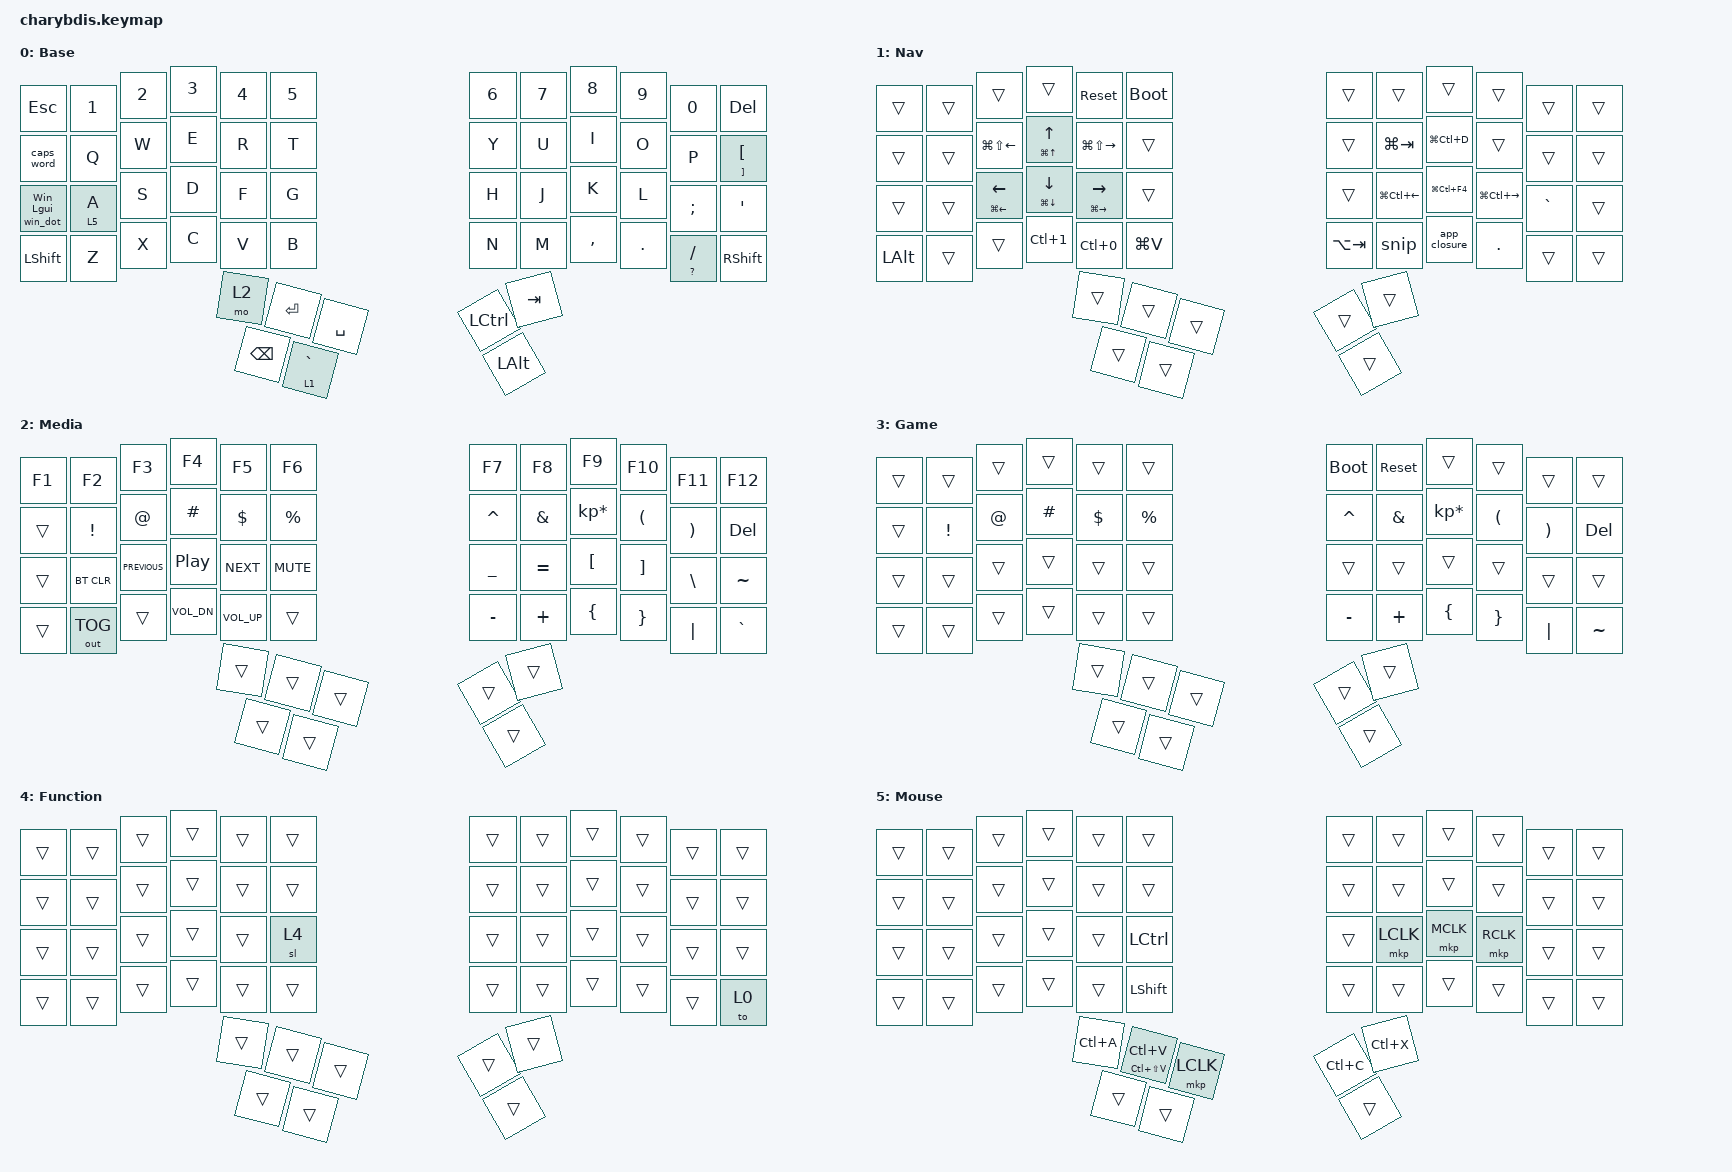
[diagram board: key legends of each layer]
#include <behaviors.dtsi>
#include <dt-bindings/zmk/bt.h>
#include <dt-bindings/zmk/keys.h>
#include <dt-bindings/zmk/outputs.h>
#include <dt-bindings/zmk/pointing.h>

&mmv {
    time-to-max-speed-ms = <400>;
    acceleration-exponent = <2>;
};

&msc {
    time-to-max-speed-ms = <300>;
    acceleration-exponent = <2>;
};

#define BASE 0
#define NAV 1
#define MEDIA 2
#define Game 3
#define Gameq 4
#define MOUSE 5
#define KEYS_L 0 1 2 3 4 5 12 13 14 15 16 17 24 25 26 27 28 29 36 37 38 39 40 41
#define KEYS_R 6 7 8 9 10 11 18 19 20 21 22 23 30 31 32 33 34 35 42 43 44 45 46 47
#define THUMBS 48 49 50 51 52 53 54 55

&caps_word {
    /delete-property/ ignore-modifiers;

    continue-list = <UNDERSCORE BACKSPACE DELETE MINUS>;
};

&lt {
    tapping-term-ms = <200>;
    flavor = "balanced";
};

&mt {
    tapping-term-ms = <200>;
    flavor = "balanced";
};

/ {
    behaviors {
        smart_shift: smart_shift {
            compatible = "zmk,behavior-mod-morph";
            #binding-cells = <0>;
            bindings = <&sk LSHIFT>, <&caps_word>;

            mods = <(MOD_LSFT)>;
        };

        win_hold_tap: win_hold_tap {
            compatible = "zmk,behavior-hold-tap";
            label = "WIN_HOLD_TAP";
            bindings = <&win_dot>, <&Win_Lgui>;

            #binding-cells = <2>;
            tapping-term-ms = <200>;
            flavor = "balanced";
        };
    };

    combos {
        compatible = "zmk,combos";
        timeout-ms = <20>;
        require-prior-idle-ms = <250>;

        combo_reset_layer_left {
            key-positions = <0 12>;
            bindings = <&sys_reset>;
        };

        combo_reset_layer_right {
            key-positions = <11 23>;
            bindings = <&sys_reset>;
        };

        BootloaderLeft {
            key-positions = <0 13>;
            bindings = <&bootloader>;
            require-prior-idle-ms = <2000>;
        };

        zmk_studio {
            key-positions = <0 4>;
            bindings = <&studio_unlock>;
        };

        BootloaderRight {
            bindings = <&bootloader>;
            key-positions = <11 22>;
        };
    };

    chosen { zmk,physical-layout = &charybdis_6col_layout; };

    macros {
        win_dot: macro_press {
            compatible = "zmk,behavior-macro";
            #binding-cells = <0>;
            bindings =
                <&macro_press>,
                <&kp LEFT_GUI &kp DOT>,
                <&macro_pause_for_release>,
                <&macro_release>,
                <&kp LEFT_GUI &kp DOT>;

            label = "MACRO_PRESS";
        };

        Win_Lgui: Win_Lgui {
            compatible = "zmk,behavior-macro";
            #binding-cells = <0>;
            bindings =
                <&macro_press>,
                <&kp LEFT_GUI>,
                <&macro_pause_for_release>,
                <&macro_release>,
                <&kp LEFT_GUI>;

            label = "WIN_LGUI";
        };

        app_closure: app_closure {
            compatible = "zmk,behavior-macro";
            #binding-cells = <0>;
            bindings =
                <&macro_press>,
                <&kp LEFT_ALT &kp F4>,
                <&macro_pause_for_release>,
                <&macro_release>,
                <&kp LEFT_ALT &kp F4>;

            label = "APP_CLOSURE";
        };

        snip: snip {
            compatible = "zmk,behavior-macro";
            #binding-cells = <0>;
            bindings =
                <&macro_press>,
                <&kp LEFT_GUI &kp LSHIFT &kp S>,
                <&macro_pause_for_release>,
                <&macro_release>,
                <&kp LGUI &kp LSHFT &kp S>;

            label = "SNIP";
        };
    };

    keymap {
        compatible = "zmk,keymap";

        Base {
            label = "Base";
            display-name = "Base";
            bindings = <
&kp ESC            &kp N1   &kp N2  &kp N3  &kp N4     &kp N5       &kp N6         &kp N7       &kp N8     &kp N9   &kp N0          &kp DEL
&caps_word         &kp Q    &kp W   &kp E   &kp R      &kp T        &kp Y          &kp U        &kp I      &kp O    &kp P           &mt RIGHT_BRACKET LEFT_BRACKET
&win_hold_tap 0 0  &lt 5 A  &kp S   &kp D   &kp F      &kp G        &kp H          &kp J        &kp K      &kp L    &kp SEMI        &kp APOS
&kp LSHFT          &kp Z    &kp X   &kp C   &kp V      &kp B        &kp N          &kp M        &kp COMMA  &kp DOT  &mt QMARK FSLH  &kp RIGHT_SHIFT
                                    &mo 2   &kp RET    &kp SPACE    &kp BACKSPACE  &lt 1 GRAVE
                                            &kp LCTRL  &kp TAB      &kp LEFT_ALT
            >;
        };

        Nav {
            label = "Nav";
            display-name = "Nav";
            bindings = <
&trans        &trans  &trans                  &trans                         &sys_reset               &bootloader    &trans       &trans                  &trans          &trans                   &trans     &trans
&trans        &trans  &kp LG(LS(LEFT_ARROW))  &mt LG(UP_ARROW) UP_ARROW      &kp LG(LS(RIGHT_ARROW))  &trans         &trans       &kp LG(TAB)             &kp LG(LC(D))   &trans                   &trans     &trans
&trans        &trans  &mt LG(LEFT) LEFT       &mt LG(DOWN_ARROW) DOWN_ARROW  &mt LG(RIGHT) RIGHT      &trans         &trans       &kp LG(LC(LEFT_ARROW))  &kp LG(LC(F4))  &kp LG(LC(RIGHT_ARROW))  &kp GRAVE  &trans
&kp LEFT_ALT  &trans  &trans                  &kp LC(NUMBER_1)               &kp LC(N0)               &kp LG(V)      &kp LA(TAB)  &snip                   &app_closure    &kp DOT                  &trans     &trans
                                              &trans                         &trans                   &trans         &trans       &trans
                                                                             &trans                   &trans         &trans
            >;
        };

        Media {
            label = "Symbol";
            display-name = "Media";
            bindings = <
&kp F1  &kp F2        &kp F3          &kp F4        &kp F5           &kp F6        &kp F7     &kp F8     &kp F9           &kp F10   &kp F11   &kp F12
&trans  &kp EXCL      &kp AT          &kp HASH      &kp DOLLAR       &kp PRCNT     &kp CARET  &kp AMPS   &kp KP_MULTIPLY  &kp LPAR  &kp RPAR  &kp DELETE
&trans  &bt BT_CLR    &kp C_PREVIOUS  &kp C_PP      &kp C_NEXT       &kp C_MUTE    &kp UNDER  &kp EQUAL  &kp LBKT         &kp RBKT  &kp BSLH  &kp TILDE
&trans  &out OUT_TOG  &trans          &kp C_VOL_DN  &kp C_VOLUME_UP  &trans        &kp MINUS  &kp PLUS   &kp LBRC         &kp RBRC  &kp PIPE  &kp GRAVE
                                      &trans        &trans           &trans        &trans     &trans
                                                    &trans           &trans        &trans
            >;
        };

        Game {
            label = "Game";
            display-name = "Game";
            bindings = <
&trans  &trans    &trans  &trans    &trans    &trans       &bootloader  &sys_reset  &trans           &trans    &trans    &trans
&trans  &kp EXCL  &kp AT  &kp HASH  &kp DLLR  &kp PRCNT    &kp CARET    &kp AMPS    &kp KP_MULTIPLY  &kp LPAR  &kp RPAR  &kp DEL
&trans  &trans    &trans  &trans    &trans    &trans       &trans       &trans      &trans           &trans    &trans    &trans
&trans  &trans    &trans  &trans    &trans    &trans       &kp MINUS    &kp PLUS    &kp LBRC         &kp RBRC  &kp PIPE  &kp TILDE
                          &trans    &trans    &trans       &trans       &trans
                                    &trans    &trans       &trans
            >;
        };

        Gameq {
            label = "Gameq";
            display-name = "Function";
            bindings = <
&trans  &trans  &trans  &trans  &trans  &trans    &trans  &trans  &trans  &trans  &trans  &trans
&trans  &trans  &trans  &trans  &trans  &trans    &trans  &trans  &trans  &trans  &trans  &trans
&trans  &trans  &trans  &trans  &trans  &sl 4     &trans  &trans  &trans  &trans  &trans  &trans
&trans  &trans  &trans  &trans  &trans  &trans    &trans  &trans  &trans  &trans  &trans  &to 0
                        &trans  &trans  &trans    &trans  &trans
                                &trans  &trans    &trans
            >;
        };

        Mouse {
            label = "Mouse";
            display-name = "Mouse";
            bindings = <
&trans  &trans  &trans  &trans     &trans               &trans       &trans  &trans     &trans     &trans     &trans  &trans
&trans  &trans  &trans  &trans     &trans               &trans       &trans  &trans     &trans     &trans     &trans  &trans
&trans  &trans  &trans  &trans     &trans               &kp LCTRL    &trans  &mkp LCLK  &mkp MCLK  &mkp RCLK  &trans  &trans
&trans  &trans  &trans  &trans     &trans               &kp LSHFT    &trans  &trans     &trans     &trans     &trans  &trans
                        &kp LC(A)  &mt LC(LS(V)) LC(V)  &mkp LCLK    &trans  &trans
                                   &kp LC(C)            &kp LC(X)    &trans
            >;
        };
    };
};
